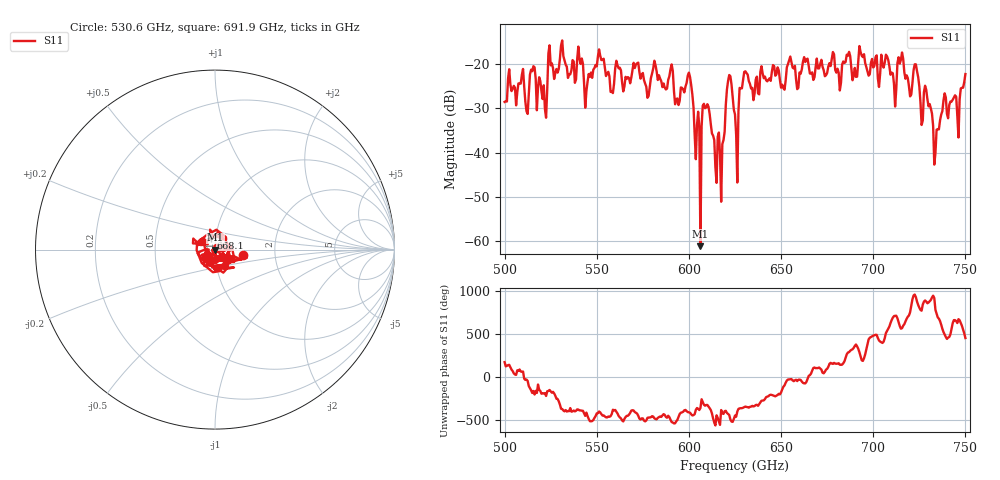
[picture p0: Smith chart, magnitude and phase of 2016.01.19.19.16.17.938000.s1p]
!Created with skrf (http://scikit-rf.org).
# GHz S RI R 50.0
!freq ReS11 ImS11
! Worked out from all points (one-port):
!   401 points, 500 GHz to 750 GHz, reference 50 ohm
!   lowest |S11| = -61.1 dB at 606.2 GHz (marker M1), VSWR 1.00, Z = 50.1 - j0.00331 ohm
!   |S11| at or under -10 dB: start of sweep to end of sweep
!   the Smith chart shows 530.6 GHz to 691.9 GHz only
!   S11 on the Smith chart (normalised r, x): 530.6 GHz: 1.37, -0.09; 668.1 GHz: 0.94, +0.13; 691.9 GHz: 1.19, -0.13
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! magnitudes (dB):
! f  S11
! 500 GHz  -28.6
! 511.9 GHz  -30.7
! 515 GHz  -21.7
! 521.9 GHz  -30.2
! 525 GHz  -20.3
! 530.6 GHz  -15.9
! 531.2 GHz  -14.7
! 544.4 GHz  -26.2
! 551.9 GHz  -18.2
! 562.5 GHz  -20.9
! 590 GHz  -21.2
! 593.8 GHz  -27.8
! 600 GHz  -22.0
! 605 GHz  -30.8
! 606.2 GHz  -61.1
! 609.4 GHz  -29.8
! 618.1 GHz  -38.1
! 621.9 GHz  -22.5
! 625 GHz  -31.4
! 630.6 GHz  -21.7
! 656.2 GHz  -20.8
! 668.1 GHz  -23.0
! 687.5 GHz  -18.2
! 691.9 GHz  -19.6
! 718.8 GHz  -23.2
! 723.1 GHz  -20.1
! 734.4 GHz  -34.8
! 750 GHz  -22.3
